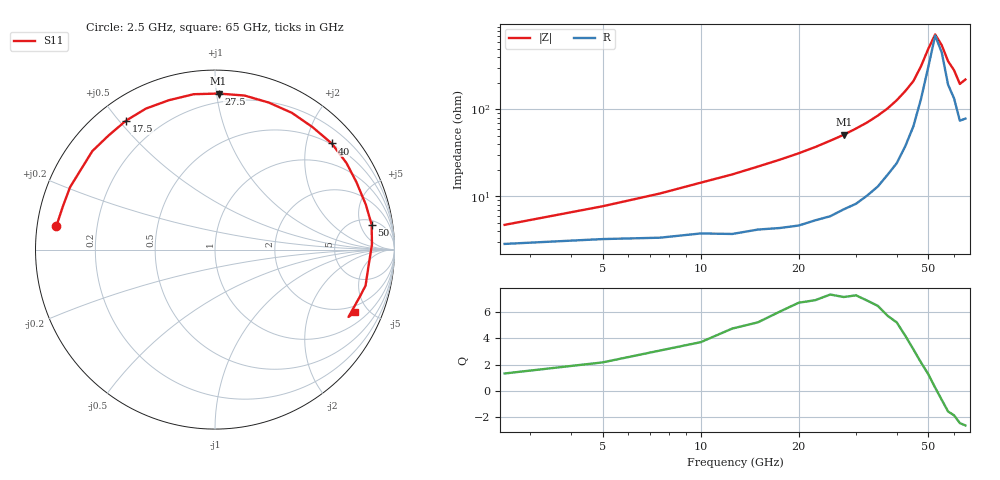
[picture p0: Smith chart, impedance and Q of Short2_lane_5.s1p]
! File created by SignalIntegrity v1.5.1: Signal and Power Integrity Tools
! https://github.com/Nubis-Communications/SignalIntegrity
# MHz S MA R 50.0
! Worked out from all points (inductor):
!   26 points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, 2.5 GHz to 65 GHz, reference 50 ohm
!   read as one part to ground: L = 213 pH near 7.5 GHz
!   highest Q = 7.27 at 27.5 GHz (marker M1), where L = 293 pH
!   self-resonance near 53.39 GHz
!   S11 on the Smith chart (normalised r, x): 2.5 GHz: 0.06, +0.07; 17.5 GHz: 0.09, +0.52; 27.5 GHz: 0.14, +1.01; 40 GHz: 0.48, +2.51; 50 GHz: 6.17, +7.83; 65 GHz: 1.57, -4.13
2500  0.8932 171.4
5000  0.881 164.0
7500  0.8793 156.7
10000  0.87 148.8
12500  0.8765 141.2
15000  0.8694 132.9
17500  0.8728 124.6
20000  0.875 116.1
22500  0.8711 107.2
25000  0.8739 97.8
27500  0.8697 88.7
30000  0.8739 79.2
32500  0.8723 70.1
35000  0.8742 60.6
37500  0.8723 51.5
40000  0.8791 42.3
42500  0.8772 33.4
45000  0.873 25.5
47500  0.877 16.5
50000  0.8837 9.0
52500  0.875 1.9
55000  0.8603 -5.9
57500  0.8625 -13.5
60000  0.8489 -17.8
62500  0.8331 -26.7
65000  0.8571 -24.0
